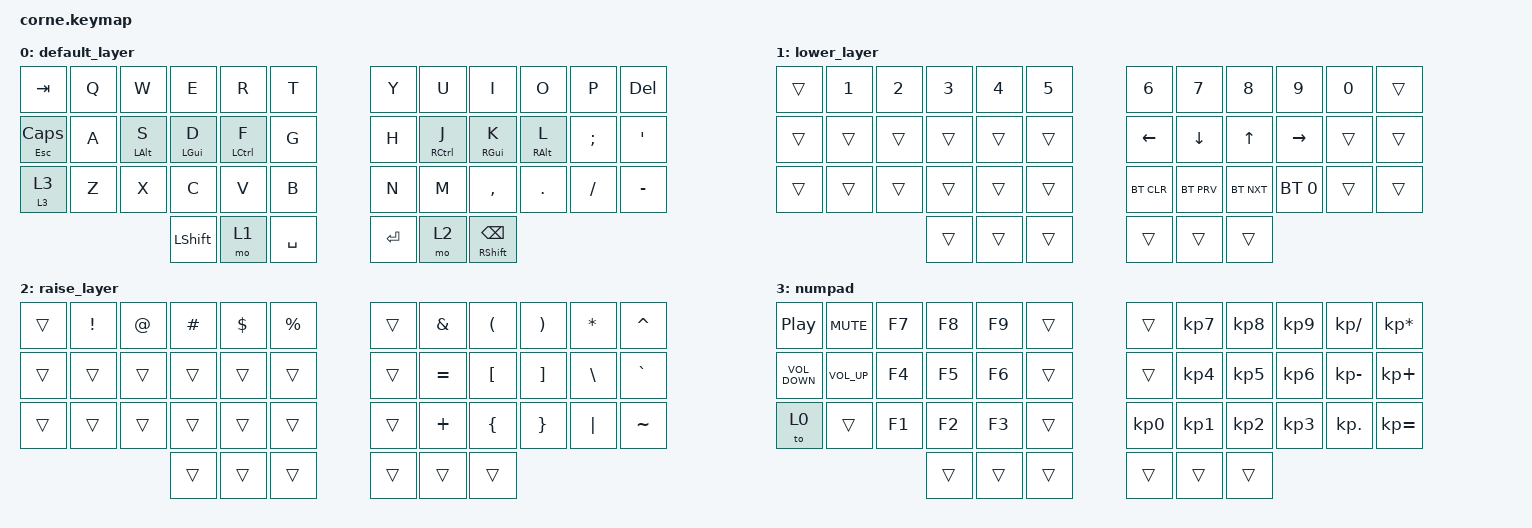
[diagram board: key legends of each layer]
/*
 * Copyright (c) 2020 The ZMK Contributors
 *
 * SPDX-License-Identifier: MIT
 */

#include <behaviors.dtsi>
#include <dt-bindings/zmk/bt.h>
#include <dt-bindings/zmk/keys.h>

/ {
    behaviors {
        homerow_mod: homerow_mod {
            compatible = "zmk,behavior-hold-tap";
            label = "HOMEROW_MOD";
            bindings = <&kp>, <&kp>;

            #binding-cells = <2>;
            flavor = "tap-preferred";
            tapping-term-ms = <200>;
        };

        layer_sticky_or_to: layer_sticky_or_to {
            compatible = "zmk,behavior-hold-tap";
            label = "LAYER_STICKY_OR_TO";
            #binding-cells = <2>;
            tapping-term-ms = <200>;
            bindings = <&tog>, <&sl>;
        };
    };

    keymap {
        compatible = "zmk,keymap";

        default_layer {
            // -----------------------------------------------------------------------------------------
            // |  TAB |  Q  |  W  |  E  |  R  |  T  |   |  Y  |  U   |  I  |  O  |  P  | BKSP |
            // | CTRL |  A  |  S  |  D  |  F  |  G  |   |  H  |  J   |  K  |  L  |  ;  |  '   |
            // | SHFT |  Z  |  X  |  C  |  V  |  B  |   |  N  |  M   |  ,  |  .  |  /  | ESC  |
            //                    | GUI | LWR | SPC |   | ENT | RSE  | ALT |

            bindings = <
&kp TAB                  &kp Q  &kp W                    &kp E                    &kp R                 &kp T        &kp Y      &kp U                 &kp I                      &kp O                     &kp P          &kp DELETE
&mt ESCAPE CAPSLOCK      &kp A  &homerow_mod LEFT_ALT S  &homerow_mod LEFT_GUI D  &homerow_mod LCTRL F  &kp G        &kp H      &homerow_mod RCTRL J  &homerow_mod RIGHT_GUI K   &homerow_mod RIGHT_ALT L  &kp SEMICOLON  &kp SQT
&layer_sticky_or_to 3 3  &kp Z  &kp X                    &kp C                    &kp V                 &kp B        &kp N      &kp M                 &kp COMMA                  &kp DOT                   &kp FSLH       &kp MINUS
                                                         &kp LEFT_SHIFT           &mo 1                 &kp SPACE    &kp ENTER  &mo 2                 &mt RIGHT_SHIFT BACKSPACE
            >;
        };

        lower_layer {
            // -----------------------------------------------------------------------------------------
            // |  TAB |  1  |  2  |  3  |  4  |  5  |   |  6  |  7  |  8  |  9  |  0  | BKSP |
            // | BTCLR| BT1 | BT2 | BT3 | BT4 | BT5 |   | LFT | DWN |  UP | RGT |     |      |
            // | SHFT |     |     |     |     |     |   |     |     |     |     |     |      |
            //                    | GUI |     | SPC |   | ENT |     | ALT |

            bindings = <
&trans  &kp N1  &kp N2  &kp N3  &kp N4  &kp N5    &kp N6      &kp N7      &kp N8      &kp N9        &kp N0  &trans
&trans  &trans  &trans  &trans  &trans  &trans    &kp LEFT    &kp DOWN    &kp UP      &kp RIGHT     &trans  &trans
&trans  &trans  &trans  &trans  &trans  &trans    &bt BT_CLR  &bt BT_PRV  &bt BT_NXT  &bt BT_SEL 0  &trans  &trans
                        &trans  &trans  &trans    &trans      &trans      &trans
            >;
        };

        raise_layer {
            // -----------------------------------------------------------------------------------------
            // |  TAB |  !  |  @  |  #  |  $  |  %  |   |  ^  |  &  |  *  |  (  |  )  | BKSP |
            // | CTRL |     |     |     |     |     |   |  -  |  =  |  [  |  ]  |  \  |  `   |
            // | SHFT |     |     |     |     |     |   |  _  |  +  |  {  |  }  | "|" |  ~   |
            //                    | GUI |     | SPC |   | ENT |     | ALT |

            bindings = <
&trans  &kp EXCL  &kp AT  &kp HASH  &kp DLLR  &kp PRCNT    &trans  &kp AMPS   &kp LEFT_PARENTHESIS  &kp RIGHT_PARENTHESIS  &kp ASTERISK  &kp CARET
&trans  &trans    &trans  &trans    &trans    &trans       &trans  &kp EQUAL  &kp LBKT              &kp RBKT               &kp BSLH      &kp GRAVE
&trans  &trans    &trans  &trans    &trans    &trans       &trans  &kp PLUS   &kp LBRC              &kp RBRC               &kp PIPE      &kp TILDE
                          &trans    &trans    &trans       &trans  &trans     &trans
            >;
        };

        numpad {
            bindings = <
&kp C_PLAY_PAUSE   &kp C_MUTE       &kp F7  &kp F8  &kp F9  &trans    &trans           &kp KP_NUMBER_7  &kp KP_NUMBER_8  &kp KP_NUMBER_9  &kp KP_DIVIDE    &kp KP_MULTIPLY
&kp C_VOLUME_DOWN  &kp C_VOLUME_UP  &kp F4  &kp F5  &kp F6  &trans    &trans           &kp KP_NUMBER_4  &kp KP_NUMBER_5  &kp KP_NUMBER_6  &kp KP_SUBTRACT  &kp KP_PLUS
&to 0              &trans           &kp F1  &kp F2  &kp F3  &trans    &kp KP_NUMBER_0  &kp KP_NUMBER_1  &kp KP_NUMBER_2  &kp KP_NUMBER_3  &kp KP_DOT       &kp KP_EQUAL
                                            &trans  &trans  &trans    &trans           &trans           &trans
            >;
        };
    };

    conditional_layers {
        compatible = "zmk,conditional-layers";

        tri_layer {
            if-layers = <1 2>;
            then-layer = <3>;
        };
    };
};
